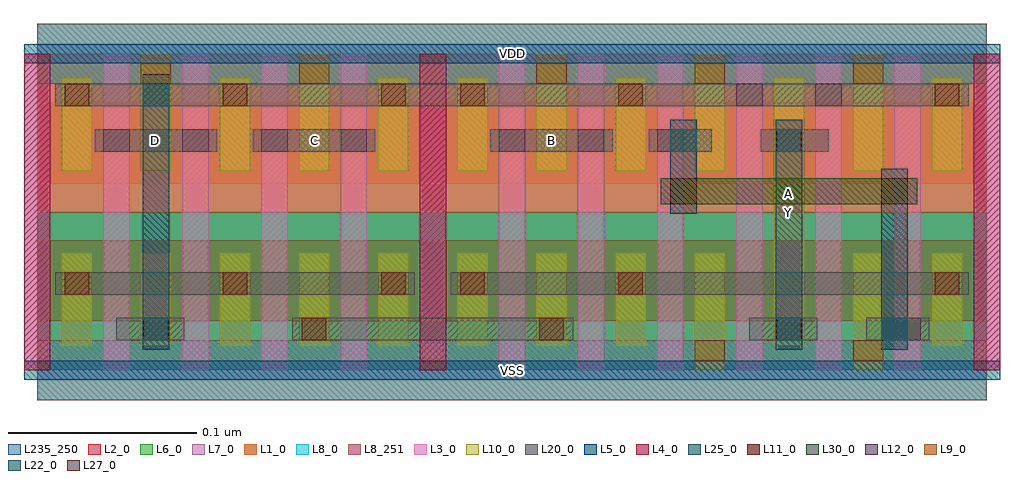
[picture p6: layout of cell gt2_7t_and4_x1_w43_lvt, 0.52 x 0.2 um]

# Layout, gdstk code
import gdstk
lib = gdstk.Library(unit=1e-6, precision=5e-10)
def R(c, l, rs):  # rectangles x0, y0, x1, y1
    for r in rs: c.add(gdstk.rectangle(r[:2], r[2:], *l))
def A(c, l, x, y, w, h, nx, ny, dx, dy):  # array of equal rectangles
    R(c, l, [(x+i*dx, y+j*dy, x+i*dx+w, y+j*dy+h) for i in range(nx) for j in range(ny)])
L1_0 = (1, 0)
L2_0 = (2, 0)
L3_0 = (3, 0)
L4_0 = (4, 0)
L5_0 = (5, 0)
L6_0 = (6, 0)
L7_0 = (7, 0)
L8_0 = (8, 0)
L8_251 = (8, 251)
L9_0 = (9, 0)
L10_0 = (10, 0)
L11_0 = (11, 0)
L12_0 = (12, 0)
L20_0 = (20, 0)
L22_0 = (22, 0)
L25_0 = (25, 0)
L27_0 = (27, 0)
L30_0 = (30, 0)
L235_250 = (235, 250)

gt2_7t_and4_x1_w43_lvt = lib.new_cell('gt2_7t_and4_x1_w43_lvt')
R(gt2_7t_and4_x1_w43_lvt, L1_0, [(0,0.084,0.504,0.168)])
R(gt2_7t_and4_x1_w43_lvt, L2_0, [(0,0.026,0.504,0.069), (0,0.099,0.504,0.142)])
A(gt2_7t_and4_x1_w43_lvt, L3_0, -0.007, 0, 0.014, 0.168, 13, 1, 0.042, 0)
R(gt2_7t_and4_x1_w43_lvt, L4_0, [(-0.007,0,0.007,0.168), (0.203,0,0.217,0.168), (0.497,0,0.511,0.168)])
R(gt2_7t_and4_x1_w43_lvt, L5_0, [(-0.007,-0.005,0.511,0.005), (-0.007,0.163,0.511,0.173)])
R(gt2_7t_and4_x1_w43_lvt, L6_0, [(0,0,0.504,0.084)])
R(gt2_7t_and4_x1_w43_lvt, L7_0, [(0,0.084,0.504,0.168)])
R(gt2_7t_and4_x1_w43_lvt, L8_0, [(0,-0.016,0.504,0.016), (0,0.152,0.504,0.184)])
R(gt2_7t_and4_x1_w43_lvt, L8_251, [(0,-0.016,0.504,0.016), (0,0.152,0.504,0.184)])
A(gt2_7t_and4_x1_w43_lvt, L9_0, 0.265, 0.152, 0.016, 0.011, 3, 1, 0.084, 0)
R(gt2_7t_and4_x1_w43_lvt, L9_0, [(0.349,0.005,0.365,0.016), (0.433,0.005,0.449,0.016), (0.055,0.152,0.071,0.163), (0.139,0.152,0.155,0.163)])
A(gt2_7t_and4_x1_w43_lvt, L10_0, 0.013, 0.013, 0.016, 0.049, 8, 1, 0.042, 0)
A(gt2_7t_and4_x1_w43_lvt, L10_0, 0.013, 0.106, 0.016, 0.049, 3, 1, 0.084, 0)
A(gt2_7t_and4_x1_w43_lvt, L10_0, 0.265, 0.106, 0.016, 0.062, 3, 1, 0.084, 0)
R(gt2_7t_and4_x1_w43_lvt, L10_0, [(0.349,0,0.365,0.062), (0.433,0,0.449,0.062), (0.391,0.013,0.407,0.155), (0.475,0.013,0.491,0.062), (0.055,0.106,0.071,0.168), (0.139,0.106,0.155,0.168), (0.223,0.106,0.239,0.155), (0.307,0.106,0.323,0.155), (0.475,0.106,0.491,0.155)])
A(gt2_7t_and4_x1_w43_lvt, L11_0, 0.1405, 0.016, 0.013, 0.012, 3, 1, 0.126, 0)
A(gt2_7t_and4_x1_w43_lvt, L11_0, 0.0145, 0.04, 0.013, 0.012, 3, 2, 0.084, 0.1)
R(gt2_7t_and4_x1_w43_lvt, L11_0, [(0.0565,0.016,0.0695,0.028), (0.2245,0.04,0.2375,0.052), (0.3085,0.04,0.3215,0.052), (0.4765,0.04,0.4895,0.052), (0.3925,0.116,0.4055,0.128), (0.2245,0.14,0.2375,0.152), (0.3085,0.14,0.3215,0.152), (0.4765,0.14,0.4895,0.152)])
A(gt2_7t_and4_x1_w43_lvt, L12_0, 0.035, 0.116, 0.014, 0.012, 4, 1, 0.042, 0)
A(gt2_7t_and4_x1_w43_lvt, L12_0, 0.245, 0.116, 0.014, 0.012, 3, 1, 0.042, 0)
R(gt2_7t_and4_x1_w43_lvt, L12_0, [(0.455,0.016,0.469,0.028), (0.371,0.14,0.385,0.152), (0.413,0.14,0.427,0.152)])
R(gt2_7t_and4_x1_w43_lvt, L20_0, [(0.042,0.016,0.078,0.028), (0.1355,0.016,0.2845,0.028), (0.378,0.016,0.414,0.028), (0.44,0.016,0.4735,0.028), (0.0095,0.04,0.2005,0.052), (0.2195,0.04,0.4945,0.052), (0.0305,0.116,0.0955,0.128), (0.1145,0.116,0.1795,0.128), (0.2405,0.116,0.3055,0.128), (0.3245,0.116,0.358,0.128), (0.384,0.116,0.42,0.128), (0.0095,0.14,0.4945,0.152)])
R(gt2_7t_and4_x1_w43_lvt, L22_0, [(0.056,0.016,0.07,0.028), (0.392,0.016,0.406,0.028), (0.448,0.016,0.462,0.028), (0.336,0.116,0.35,0.128), (0.392,0.116,0.406,0.128), (0.056,0.14,0.07,0.152)])
R(gt2_7t_and4_x1_w43_lvt, L25_0, [(0.056,0.011,0.07,0.157), (0.392,0.011,0.406,0.133), (0.448,0.011,0.462,0.107), (0.336,0.083,0.35,0.133)])
R(gt2_7t_and4_x1_w43_lvt, L27_0, [(0.336,0.088,0.35,0.102), (0.448,0.088,0.462,0.102)])
R(gt2_7t_and4_x1_w43_lvt, L30_0, [(0.331,0.088,0.467,0.102)])
R(gt2_7t_and4_x1_w43_lvt, L235_250, [(0,0,0.504,0.168)])
gt2_7t_and4_x1_w43_lvt.add(gdstk.Label('VSS', (0.252,0), layer=8, texttype=251))
gt2_7t_and4_x1_w43_lvt.add(gdstk.Label('VDD', (0.252,0.168), layer=8, texttype=251))
gt2_7t_and4_x1_w43_lvt.add(gdstk.Label('D', (0.063,0.122), layer=20, texttype=251))
gt2_7t_and4_x1_w43_lvt.add(gdstk.Label('C', (0.147,0.122), layer=20, texttype=251))
gt2_7t_and4_x1_w43_lvt.add(gdstk.Label('B', (0.273,0.122), layer=20, texttype=251))
gt2_7t_and4_x1_w43_lvt.add(gdstk.Label('A', (0.399,0.094), layer=30, texttype=251))
gt2_7t_and4_x1_w43_lvt.add(gdstk.Label('Y', (0.399,0.084), layer=25, texttype=251))

lib.write_gds('gt2_7t_and4_x1_w43_lvt.gds')
